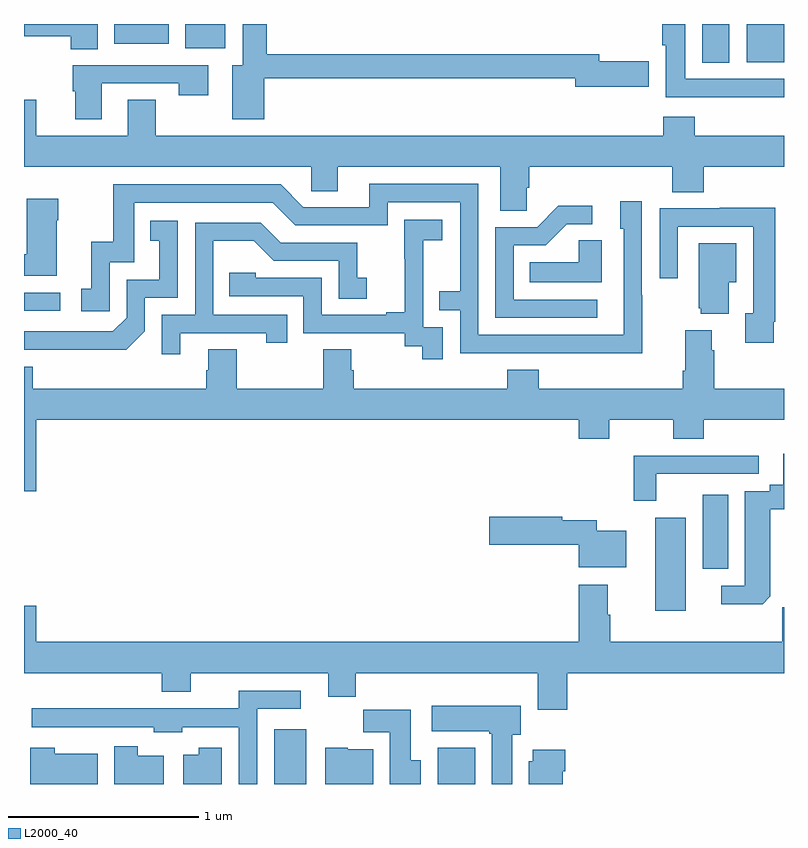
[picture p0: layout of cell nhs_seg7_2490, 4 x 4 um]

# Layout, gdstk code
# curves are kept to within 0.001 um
import gdstk
lib = gdstk.Library(unit=1e-6, precision=1e-09)
def R(c, l, rs):  # rectangles x0, y0, x1, y1
    for r in rs: c.add(gdstk.rectangle(r[:2], r[2:], *l))
def P(c, l, *ps):  # polygons
    for p in ps: c.add(gdstk.Polygon(p, *l))
L2000_40 = (2000, 40)

nhs_seg7_2490 = lib.new_cell('nhs_seg7_2490')
R(nhs_seg7_2490, L2000_40, [(274.316,1032,274.486,1032.289), (275.177,1032,275.374,1032.19), (276.323,1032.912,276.484,1033.402), (276.572,1033.134,276.706,1033.522), (273,1034.49,273.19,1034.586), (276.569,1035.796,276.712,1036), (276.803,1035.8,277,1036), (273.848,1035.872,274.06,1036), (273.476,1035.896,273.763,1036)])
P(nhs_seg7_2490, L2000_40, [(273.388,1036),(273,1036),(273,1035.936),(273.247,1035.936),(273.247,1035.868),(273.388,1035.868)],
  [(274.264,1035.714),(275.9,1035.714),(275.9,1035.671),(276.289,1035.671),(276.289,1035.805),(276.028,1035.805),(276.028,1035.842),(274.277,1035.842),(274.277,1036),(274.151,1036),(274.151,1035.784),(274.097,1035.784),(274.097,1035.498),(274.264,1035.498)],
  [(277,1035.711),(276.481,1035.711),(276.481,1036),(276.36,1036),(276.36,1035.889),(276.377,1035.889),(276.377,1035.614),(277,1035.614)],
  [(273.409,1035.687),(273.814,1035.687),(273.814,1035.624),(273.97,1035.624),(273.97,1035.783),(273.257,1035.783),(273.257,1035.645),(273.269,1035.645),(273.269,1035.498),(273.409,1035.498)],
  [(275.646,1035.139),(275.66,1035.139),(275.66,1035.248),(276.413,1035.248),(276.413,1035.115),(276.578,1035.115),(276.578,1035.248),(277,1035.248),(277,1035.412),(276.53,1035.412),(276.53,1035.511),(276.365,1035.511),(276.365,1035.412),(273.693,1035.412),(273.693,1035.602),(273.545,1035.602),(273.545,1035.412),(273.064,1035.412),(273.064,1035.601),(273,1035.601),(273,1035.248),(274.512,1035.248),(274.512,1035.121),(274.651,1035.121),(274.651,1035.248),(275.507,1035.248),(275.507,1035.016),(275.646,1035.016)],
  [(276.255,1034.573),(276.252,1034.573),(276.252,1035.067),(276.137,1035.067),(276.137,1034.922),(276.156,1034.922),(276.156,1034.364),(275.391,1034.364),(275.391,1035.159),(274.817,1035.159),(274.817,1035.036),(274.47,1035.036),(274.35,1035.156),(273.471,1035.156),(273.471,1034.853),(273.353,1034.853),(273.353,1034.607),(273.3,1034.607),(273.3,1034.487),(273.45,1034.487),(273.45,1034.745),(273.579,1034.745),(273.579,1035.06),(274.308,1035.06),(274.428,1034.94),(274.914,1034.94),(274.914,1035.063),(275.295,1035.063),(275.295,1034.594),(275.185,1034.594),(275.185,1034.493),(275.295,1034.493),(275.295,1034.268),(276.255,1034.267)],
  [(273.172,1034.966),(273.18,1034.966),(273.18,1035.079),(273.014,1035.079),(273.014,1034.789),(273,1034.789),(273,1034.675),(273.172,1034.675)],
  [(276.016,1034.55),(275.577,1034.55),(275.577,1034.835),(275.746,1034.835),(275.857,1034.946),(275.992,1034.946),(275.992,1035.044),(275.813,1035.044),(275.7,1034.931),(275.481,1034.931),(275.481,1034.454),(276.016,1034.454)],
  [(276.946,1034.434),(276.953,1034.434),(276.953,1035.032),(276.661,1035.032),(276.661,1035.03),(276.345,1035.03),(276.345,1034.661),(276.441,1034.661),(276.441,1034.934),(276.837,1034.934),(276.837,1034.478),(276.797,1034.478),(276.797,1034.322),(276.946,1034.322)],
  [(275.205,1034.403),(275.1,1034.403),(275.1,1034.632),(275.102,1034.632),(275.102,1034.861),(275.2,1034.861),(275.2,1034.971),(275.002,1034.971),(275.002,1034.765),(275.003,1034.765),(275.003,1034.482),(274.907,1034.482),(274.907,1034.469),(274.566,1034.469),(274.566,1034.664),(274.221,1034.664),(274.221,1034.691),(274.081,1034.691),(274.081,1034.568),(274.47,1034.568),(274.47,1034.373),(275.004,1034.373),(275.004,1034.305),(275.097,1034.305),(275.097,1034.235),(275.205,1034.235)],
  [(273.636,1034.382),(273.636,1034.559),(273.81,1034.559),(273.81,1034.965),(273.664,1034.965),(273.664,1034.859),(273.713,1034.859),(273.713,1034.655),(273.54,1034.655),(273.54,1034.454),(273.468,1034.382),(273,1034.382),(273,1034.286),(273.538,1034.285)],
  [(273.823,1034.373),(274.274,1034.373),(274.274,1034.322),(274.385,1034.322),(274.385,1034.469),(273.996,1034.469),(273.996,1034.858),(274.21,1034.858),(274.314,1034.754),(274.656,1034.754),(274.656,1034.555),(274.804,1034.555),(274.804,1034.665),(274.755,1034.665),(274.755,1034.85),(274.351,1034.85),(274.246,1034.955),(273.9,1034.955),(273.9,1034.469),(273.726,1034.469),(273.726,1034.262),(273.823,1034.262)],
  [(276.04,1034.861),(275.919,1034.861),(275.919,1034.746),(275.662,1034.746),(275.662,1034.642),(276.04,1034.642)],
  [(276.709,1034.642),(276.748,1034.642),(276.748,1034.845),(276.551,1034.845),(276.551,1034.505),(276.563,1034.505),(276.563,1034.474),(276.709,1034.474)],
  [(273.064,1033.916),(275.921,1033.916),(275.921,1033.817),(276.081,1033.817),(276.081,1033.916),(276.418,1033.916),(276.418,1033.817),(276.578,1033.817),(276.578,1033.916),(277,1033.916),(277,1034.08),(276.632,1034.08),(276.632,1034.282),(276.619,1034.282),(276.619,1034.389),(276.479,1034.389),(276.479,1034.176),(276.467,1034.176),(276.467,1034.08),(275.708,1034.08),(275.708,1034.179),(275.543,1034.179),(275.543,1034.08),(274.736,1034.08),(274.736,1034.178),(274.723,1034.178),(274.723,1034.288),(274.576,1034.288),(274.576,1034.08),(274.119,1034.08),(274.119,1034.288),(273.971,1034.288),(273.971,1034.178),(273.959,1034.178),(273.959,1034.08),(273.047,1034.08),(273.047,1034.197),(273,1034.197),(273,1033.542),(273.064,1033.542)],
  [(276.928,1032.988),(276.928,1033.446),(277,1033.446),(277,1033.738),(276.995,1033.738),(276.995,1033.574),(276.924,1033.574),(276.924,1033.542),(276.794,1033.542),(276.794,1033.044),(276.669,1033.044),(276.669,1032.947),(276.887,1032.947)],
  [(276.327,1033.632),(276.868,1033.632),(276.868,1033.728),(276.208,1033.728),(276.208,1033.491),(276.327,1033.491)],
  [(276.169,1033.333),(276.015,1033.333),(276.015,1033.389),(275.832,1033.389),(275.832,1033.406),(275.448,1033.406),(275.448,1033.259),(275.919,1033.259),(275.919,1033.142),(276.169,1033.142)],
  [(275.858,1032.584),(277,1032.584),(277,1032.93),(276.991,1032.93),(276.991,1032.748),(276.086,1032.748),(276.086,1032.89),(276.073,1032.89),(276.073,1033.048),(275.921,1033.048),(275.921,1032.748),(273.064,1032.748),(273.064,1032.937),(273,1032.937),(273,1032.584),(273.725,1032.584),(273.725,1032.485),(273.877,1032.485),(273.877,1032.584),(274.601,1032.584),(274.601,1032.46),(274.745,1032.46),(274.745,1032.584),(275.705,1032.584),(275.705,1032.39),(275.858,1032.39)],
  [(274.227,1032.396),(274.456,1032.396),(274.456,1032.492),(274.129,1032.492),(274.129,1032.398),(273.042,1032.398),(273.042,1032.299),(273.38,1032.299),(273.38,1032.3),(273.684,1032.3),(273.684,1032.272),(273.834,1032.272),(273.834,1032.3),(274.131,1032.3),(274.131,1032),(274.227,1032)],
  [(275.569,1032.258),(275.614,1032.258),(275.614,1032.412),(275.145,1032.412),(275.145,1032.278),(275.449,1032.278),(275.449,1032.265),(275.462,1032.265),(275.462,1032),(275.569,1032)],
  [(275.089,1032.124),(275.035,1032.124),(275.035,1032.391),(274.786,1032.391),(274.786,1032.272),(274.925,1032.272),(274.925,1032),(275.089,1032)],
  [(273.736,1032.148),(273.598,1032.148),(273.598,1032.199),(273.476,1032.199),(273.476,1032),(273.736,1032)],
  [(273.388,1032.16),(273.162,1032.16),(273.162,1032.19),(273.032,1032.19),(273.032,1032),(273.388,1032)],
  [(274.837,1032.184),(274.704,1032.184),(274.704,1032.19),(274.586,1032.19),(274.586,1032),(274.837,1032)],
  [(274.042,1032.19),(273.92,1032.19),(273.92,1032.154),(273.839,1032.154),(273.839,1032),(274.042,1032)],
  [(275.836,1032.068),(275.849,1032.068),(275.849,1032.18),(275.678,1032.18),(275.678,1032.12),(275.657,1032.12),(275.657,1032),(275.836,1032)])

lib.write_gds('nhs_seg7_2490.gds')
